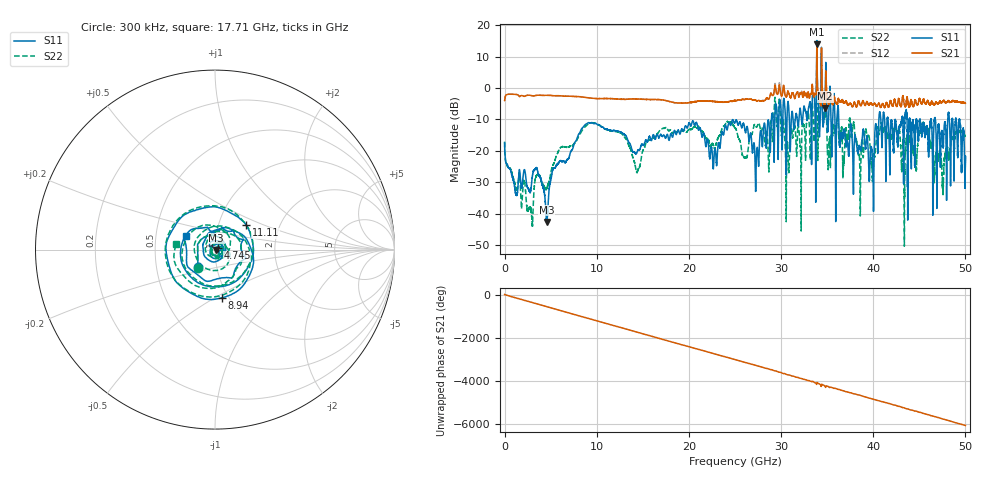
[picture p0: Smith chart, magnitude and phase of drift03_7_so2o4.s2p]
!Created with skrf (http://scikit-rf.org).
# Hz S RI R 50.0
!freq ReS11 ImS11 ReS21 ImS21 ReS12 ImS12 ReS22 ImS22
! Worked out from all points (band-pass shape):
!   10001 points, 300 kHz to 50 GHz, reference 50 ohm
!   highest |S21| = 14.01 dB at 33.88 GHz (marker M1); lowest = -6.4 dB at 34.79 GHz (marker M2)
!   |S21| within 3 dB of the highest: 33.87008 GHz to 33.88924 GHz (19.16 MHz wide, 0.0565 % of centre); 34.37721 GHz to 34.39087 GHz (13.66 MHz wide, 0.0397 % of centre)
!   lowest |S11| = -42.6 dB at 4.555 GHz (marker M3), VSWR 1.01, Z = 50.7 - j0.247 ohm
!   |S11| at or under -10 dB: start of sweep to 28.94 GHz; 36.26 GHz to 40.61 GHz (4.355 GHz wide, 11.3 % of centre); 46.73 GHz to 48.09 GHz (1.358 GHz wide, 2.86 % of centre) (the widest 3 of 52)
!   |S22| runs from -50.3 to 10.4 dB; largest |S21 - S12| = 0.79
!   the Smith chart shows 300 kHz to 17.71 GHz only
!   S11 on the Smith chart (normalised r, x): 300 kHz: 0.81, -0.16; 4.745 GHz: 1.03, +0.01; 8.94 GHz: 0.93, -0.54; 11.11 GHz: 1.36, +0.39; 17.71 GHz: 0.72, +0.12
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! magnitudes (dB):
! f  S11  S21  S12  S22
! 300 kHz  -17.5  -4.0  -4.0  -17.1
! 2.825 GHz  -32.7  -2.4  -2.4  -38.6
! 4.555 GHz  -42.6  -2.3  -2.3  -31.9
! 4.745 GHz  -35.6  -2.3  -2.3  -30.6
! 8.335 GHz  -13.1  -2.8  -2.8  -13.9
! 8.94 GHz  -11.3  -3.1  -3.1  -11.8
! 11.11 GHz  -13.1  -3.4  -3.4  -13.3
! 14.43 GHz  -20.0  -3.5  -3.5  -26.5
! 16.67 GHz  -15.5  -3.7  -3.7  -14.3
! 17.71 GHz  -15.1  -4.1  -4.1  -13.3
! 22.82 GHz  -19.4  -4.3  -4.3  -19.1
! 25 GHz  -11.0  -4.0  -4.0  -12.6
! 27.39 GHz  -19.3  -4.1  -4.1  -12.3
! 29.6 GHz  -10.4  -2.0  -2.1  -11.8
! 30.7 GHz  -5.6  -1.4  -1.5  -17.3
! 33.34 GHz  -14.1  -0.6  -0.7  -7.4
! 33.88 GHz  15.1  14.0  13.7  10.4
! 34.79 GHz  -3.2  -6.4  -5.1  -8.7
! 39.81 GHz  -19.0  -4.9  -4.9  -23.5
! 41.67 GHz  -12.5  -6.0  -6.0  -15.3
! 47.57 GHz  -18.2  -4.3  -4.2  -31.2
! 50 GHz  -21.7  -4.9  -4.9  -15.1
